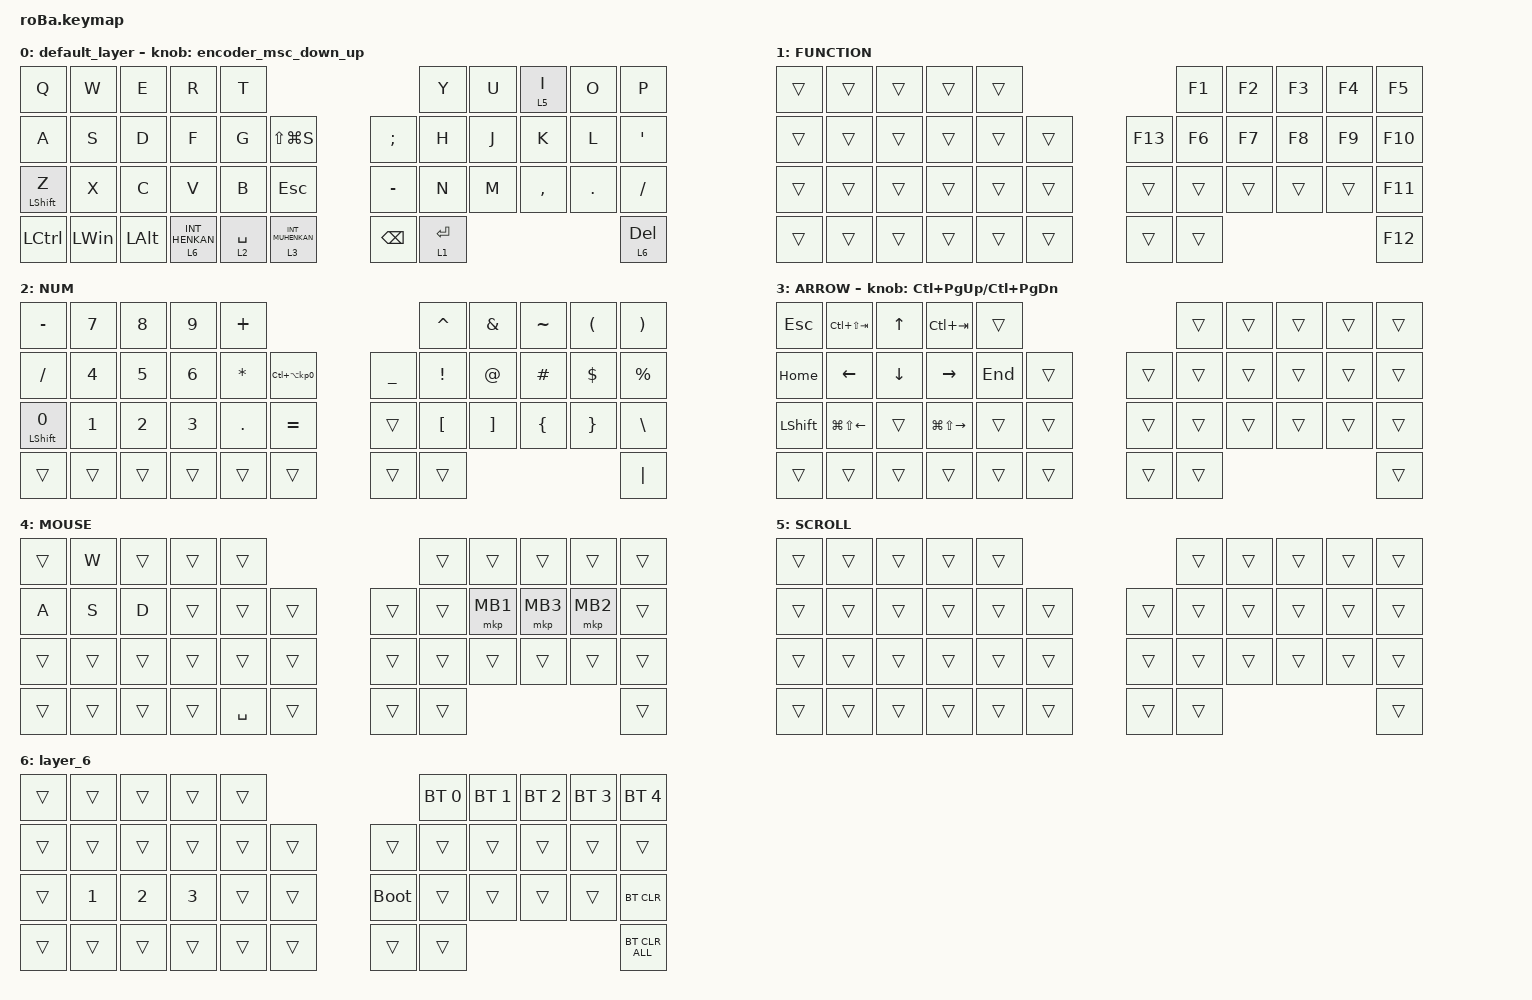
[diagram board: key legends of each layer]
#include <behaviors.dtsi>
#include <dt-bindings/zmk/bt.h>
#include <dt-bindings/zmk/keys.h>
#include <dt-bindings/zmk/pointing.h>
#define ZMK_POINTING_DEFAULT_SCRL_VAL 80
&mt {
    flavor = "balanced";
    quick-tap-ms = <0>;
};

&trackball {
    automouse-layer = <4>;
    scroll-layers = <5>;

    // arrows {
    //     layers = <3>;
    //     bindings =
    //         <&kp RIGHT_ARROW>,
    //         <&kp LEFT_ARROW>,
    //         <&kp UP_ARROW>,
    //         <&kp DOWN_ARROW>;
    //     tick = <10>;
    //     wait-ms = <5>;
    //     tap-ms = <5>;
    // };
};

/ {
    combos { compatible = "zmk,combos"; };

    macros {
        to_layer_0: to_layer_0 {
            compatible = "zmk,behavior-macro-one-param";
            #binding-cells = <1>;
            bindings = <&to 0 &macro_param_1to1 &kp MACRO_PLACEHOLDER>;
            label = "TO_LAYER_0";
        };
    };
    behaviors {
        encoder_msc_down_up: encoder_msc_down_up {
            compatible = "zmk,behavior-sensor-rotate";
            label = "ENCODER_MSC_DOWN_UP";
            #sensor-binding-cells = <0>;
            bindings = <&msc SCRL_UP>, <&msc SCRL_DOWN>;
            tap-ms = <20>;
        };
    behaviors {
        lt_to_layer_0: lt_to_layer_0 {
            compatible = "zmk,behavior-hold-tap";
            label = "LAYER_TAP_TO_0";
            bindings = <&mo>, <&to_layer_0>;

            #binding-cells = <2>;
            tapping-term-ms = <200>;
        };
    };

    keymap {
        compatible = "zmk,keymap";

        default_layer {
            bindings = <
&kp Q             &kp W         &kp E         &kp R                        &kp T                                                          &kp Y        &kp U  &lt 5 I    &kp O    &kp P
&kp A             &kp S         &kp D         &kp F                        &kp G        &kp LS(LG(S))                      &kp SEMICOLON  &kp H        &kp J  &kp K      &kp L    &kp SQT
&mt LEFT_SHIFT Z  &kp X         &kp C         &kp V                        &kp B        &kp ESCAPE                         &kp MINUS      &kp N        &kp M  &kp COMMA  &kp DOT  &kp SLASH
&kp LCTRL         &kp LEFT_WIN  &kp LEFT_ALT  &lt_to_layer_0 6 INT_HENKAN  &lt 2 SPACE  &lt_to_layer_0 3 INT_MUHENKAN      &kp BACKSPACE  &lt 1 ENTER                             &lt 6 DELETE
            >;

                    sensor-bindings = <&encoder_msc_down_up>;
        };

        FUNCTION {
            bindings = <
&trans  &trans  &trans  &trans  &trans                       &kp F1  &kp F2  &kp F3  &kp F4  &kp F5
&trans  &trans  &trans  &trans  &trans  &trans      &kp F13  &kp F6  &kp F7  &kp F8  &kp F9  &kp F10
&trans  &trans  &trans  &trans  &trans  &trans      &trans   &trans  &trans  &trans  &trans  &kp F11
&trans  &trans  &trans  &trans  &trans  &trans      &trans   &trans                          &kp F12
            >;
        };

        NUM {
            bindings = <
&kp MINUS                &kp NUMBER_7  &kp NUMBER_8  &kp NUMBER_9  &kp PLUS                                                   &kp CARET         &kp AMPERSAND      &kp TILDE       &kp LEFT_PARENTHESIS  &kp RIGHT_PARENTHESIS
&kp SLASH                &kp NUMBER_4  &kp NUMBER_5  &kp NUMBER_6  &kp ASTERISK  &kp LC(LA(KP_NUMBER_0))      &kp UNDERSCORE  &kp EXCLAMATION   &kp AT_SIGN        &kp HASH        &kp DOLLAR            &kp PERCENT
&mt LEFT_SHIFT NUMBER_0  &kp NUMBER_1  &kp NUMBER_2  &kp NUMBER_3  &kp PERIOD    &kp EQUAL                    &trans          &kp LEFT_BRACKET  &kp RIGHT_BRACKET  &kp LEFT_BRACE  &kp RIGHT_BRACE       &kp BACKSLASH
&trans                   &trans        &trans        &trans        &trans        &trans                       &trans          &trans                                                                     &kp PIPE
            >;
        };

        ARROW {
            bindings = <
&kp ESCAPE      &kp LC(LS(TAB))         &kp UP_ARROW    &kp LC(TAB)              &trans                       &trans  &trans  &trans  &trans  &trans
&kp HOME        &kp LEFT_ARROW          &kp DOWN_ARROW  &kp RIGHT_ARROW          &kp END  &trans      &trans  &trans  &trans  &trans  &trans  &trans
&kp LEFT_SHIFT  &kp LG(LS(LEFT_ARROW))  &trans          &kp LG(LS(RIGHT_ARROW))  &trans   &trans      &trans  &trans  &trans  &trans  &trans  &trans
&trans          &trans                  &trans          &trans                   &trans   &trans      &trans  &trans                          &trans
            >;

            sensor-bindings = <&inc_dec_kp LC(PAGE_UP) LC(PAGE_DOWN)>;
        };

        MOUSE {
            bindings = <
&trans  &kp W   &trans  &trans  &trans                         &trans  &trans    &trans    &trans    &trans
&kp A   &kp S   &kp D   &trans  &trans     &trans      &trans  &trans  &mkp MB1  &mkp MB3  &mkp MB2  &trans
&trans  &trans  &trans  &trans  &trans     &trans      &trans  &trans  &trans    &trans    &trans    &trans
&trans  &trans  &trans  &trans  &kp SPACE  &trans      &trans  &trans                                &trans
            >;
        };

        SCROLL {
            bindings = <
&trans  &trans  &trans  &trans  &trans                      &trans  &trans  &trans  &trans  &trans
&trans  &trans  &trans  &trans  &trans  &trans      &trans  &trans  &trans  &trans  &trans  &trans
&trans  &trans  &trans  &trans  &trans  &trans      &trans  &trans  &trans  &trans  &trans  &trans
&trans  &trans  &trans  &trans  &trans  &trans      &trans  &trans                          &trans
            >;
        };

        layer_6 {
            bindings = <
&trans  &trans        &trans        &trans        &trans                           &bt BT_SEL 0  &bt BT_SEL 1  &bt BT_SEL 2  &bt BT_SEL 3  &bt BT_SEL 4
&trans  &trans        &trans        &trans        &trans  &trans      &trans       &trans        &trans        &trans        &trans        &trans
&trans  &kp NUMBER_1  &kp NUMBER_2  &kp NUMBER_3  &trans  &trans      &bootloader  &trans        &trans        &trans        &trans        &bt BT_CLR
&trans  &trans        &trans        &trans        &trans  &trans      &trans       &trans                                                  &bt BT_CLR_ALL
            >;
        };
    };
};
